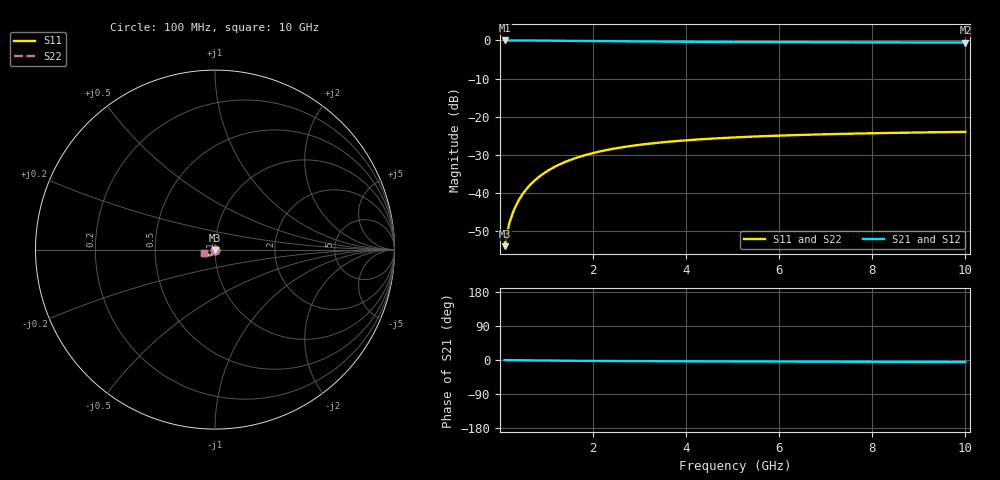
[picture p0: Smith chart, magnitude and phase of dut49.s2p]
! Touchstone file exported from HFSS 2024.1.0
!  File:  C:/UserFiles/LocalFiles/RDL_TSV_Batchsim/temp_TSV1_49_1778764373.aedt
!  Generated:  09:17:32 PM May 14, 2026
!  Design:  TSV1
!  Project:  temp_TSV1_49_1778764373
!  Setup:  Setup1
!  Solution:  Sweep
! Variables:
!  dtsv = 15.94um
!  hbump = 3um
!  htsv = 78.17um
!  lrdl = 252.1521522um
!  p = 40
!  p1 = 54.99um
!  t = 500um
!  trdl = 3um
!  wrdl = 24.89489489um
# GHz S MA R 50.000000
! Terminal data exported
! Port[1] = TSV22_T1
! Port[2] = TSV22_T2
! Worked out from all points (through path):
!   100 points, 100 MHz to 10 GHz, reference 50 ohm
!   highest |S21| = 0.00 dB at 100 MHz (marker M1); lowest = -0.5 dB at 10 GHz (marker M2)
!   lowest |S11| = -54.0 dB at 100 MHz (marker M3), VSWR 1.00, Z = 50 - j0.199 ohm
!   |S11| at or under -10 dB: start of sweep to end of sweep
!   |S22| runs from -54.0 to -24.0 dB; largest |S21 - S12| = 9e-15
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0.1  0.001993 -89.8  0.9999 -0.2  0.9999 -0.2  0.001993 -89.8
! Gamma 0 0 0 0
! Port Impedance 50 0 50 0
0.2  0.003988 -92.5  0.9996 -0.3  0.9996 -0.3  0.003988 -92.5
0.3  0.005977 -94.8  0.9993 -0.5  0.9993 -0.5  0.005977 -94.8
0.4  0.007948 -96.8  0.9988 -0.6  0.9988 -0.6  0.007948 -96.8
0.5  0.009893 -98.8  0.9982 -0.8  0.9982 -0.8  0.009893 -98.8
0.6  0.0118 -100.8  0.9975 -0.9  0.9975 -0.9  0.0118 -100.8
0.7  0.01368 -102.7  0.9967 -1.1  0.9967 -1.1  0.01368 -102.7
0.8  0.0155 -104.5  0.9959 -1.2  0.9959 -1.2  0.0155 -104.5
0.9  0.01728 -106.3  0.9949 -1.3  0.9949 -1.3  0.01728 -106.3
1.1  0.02069 -109.7  0.9928 -1.6  0.9928 -1.6  0.02069 -109.7
1.4  0.02538 -114.6  0.9894 -1.9  0.9894 -1.9  0.02538 -114.6
1.6  0.02823 -117.6  0.9869 -2.1  0.9869 -2.1  0.02823 -117.6
1.8  0.03085 -120.3  0.9844 -2.3  0.9844 -2.3  0.03085 -120.3
2.1  0.0344 -124.2  0.9808 -2.5  0.9808 -2.5  0.0344 -124.2
2.5  0.03846 -128.8  0.9761 -2.8  0.9761 -2.8  0.03846 -128.8
2.9  0.04188 -132.7  0.9719 -3.0  0.9719 -3.0  0.04188 -132.7
3.4  0.04542 -137.0  0.9671 -3.2  0.9671 -3.2  0.04542 -137.0
4.2  0.04985 -142.6  0.9607 -3.5  0.9607 -3.5  0.04985 -142.6
5.1  0.05354 -147.7  0.9551 -3.8  0.9551 -3.8  0.05354 -147.7
6.7  0.05804 -154.4  0.9479 -4.3  0.9479 -4.3  0.05804 -154.4
8.4  0.06111 -159.8  0.9428 -4.8  0.9428 -4.8  0.06111 -159.8
10  0.06306 -163.7  0.9394 -5.2  0.9394 -5.2  0.06306 -163.7
